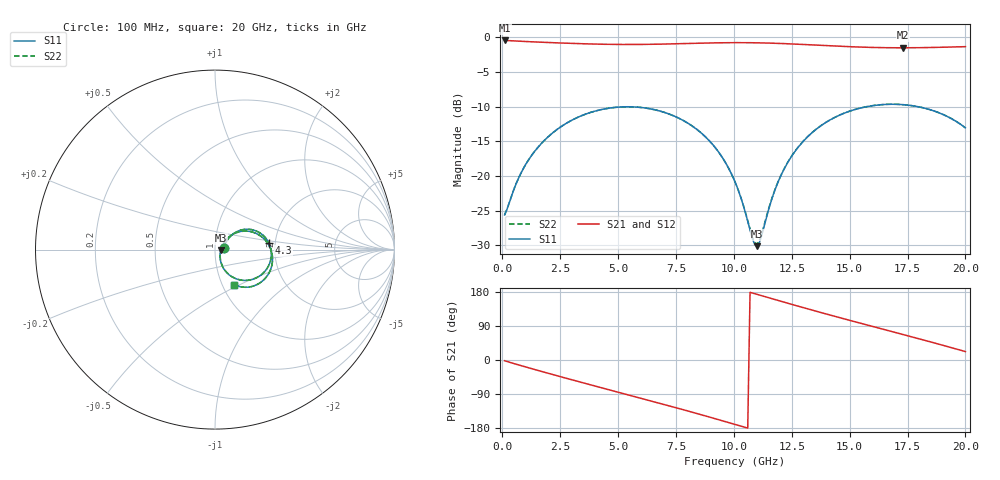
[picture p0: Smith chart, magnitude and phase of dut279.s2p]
! Touchstone file exported from HFSS 2026.1.0
!  File:  C:/ffzhzh/LocalFiles/Ansys_Project_Files/temp_train_TSV_RDL_279_1783085577_33488.aedt
!  Generated:  09:46:16 PM Jul  3, 2026
!  Design:  TSV_RDL
!  Project:  temp_train_TSV_RDL_279_1783085577_33488
! Variables:
!  h_bsmrdl = 2.5um
!  h_ox = 20um
!  h_rdl = 5um
!  h_sub = 84.76um
!  h_tmrdl = 2.14um
!  h_tsv = 84.76um
!  h_via = 3um
!  l_bsmrdl = 732.28um
!  l_sub = 5456.84um
!  l_tmrdl = 692.11um
!  m_sub = 200um
!  pitch = 25.37um
!  r_tsv = 8.3um
!  s_tmrdl = 10um
!  w_bsmrdl = 10.76um
!  w_sub = 500um
!  w_tmrdl = 19.76um
!  x_tsv_center1 = 701.99um
!  x_tsv_center2 = 1445.03um
!  x_tsv_center3 = 2156.9um
!  x_tsv_center4 = 2899.94um
!  x_tsv_center5 = 3611.81um
!  x_tsv_center6 = 4354.85um
# GHz S MA R 50.000000
! Terminal data exported
! Port[1] = TM_RDL1_1_T1
! Port[2] = TM_RDL5_1_T1
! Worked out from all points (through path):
!   200 points, 100 MHz to 20 GHz, reference 50 ohm
!   highest |S21| = -0.46 dB at 100 MHz (marker M1); lowest = -1.5 dB at 17.3 GHz (marker M2)
!   group delay of S21, straight-line fit = 46.9 ps
!   lowest |S11| = -30.1 dB at 11 GHz (marker M3), VSWR 1.06, Z = 53.2 - j0.519 ohm
!   |S11| at or under -10 dB: start of sweep to 15.74 GHz; 17.95 GHz to end of sweep
!   |S22| runs from -29.8 to -9.6 dB; largest |S21 - S12| = 1.6e-14
!   S11 on the Smith chart (normalised r, x): 100 MHz: 1.11, +0.02; 4.3 GHz: 1.85, +0.15; 20 GHz: 1.14, -0.47
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0.1  0.05248 11.7  0.9489 -1.9  0.9489 -1.9  0.05248 11.7
! Gamma 0 0 0 0
! Port Impedance 50 0 50 0
0.7  0.09641 39.3  0.938 -13.0  0.938 -13.0  0.09641 39.3
1.4  0.1509 39.9  0.9258 -25.1  0.9258 -25.1  0.1509 39.9
2.3  0.2127 32.3  0.9128 -40.5  0.9128 -40.5  0.2126 32.3
3.5  0.2756 17.8  0.8982 -60.4  0.8982 -60.4  0.2755 17.8
4.3  0.302 7.1  0.8914 -73.5  0.8914 -73.5  0.3019 7.1
5.6  0.3155 -11.1  0.8876 -94.6  0.8876 -94.6  0.3154 -11.0
6.8  0.2944 -28.3  0.8924 -114.2  0.8924 -114.2  0.2942 -28.2
7.8  0.2524 -42.6  0.9006 -130.9  0.9006 -130.9  0.2522 -42.4
8.8  0.1899 -56.2  0.9092 -148.0  0.9092 -148.0  0.1898 -55.9
9.5  0.1363 -63.9  0.9136 -160.2  0.9136 -160.2  0.1363 -63.5
10.1  0.08664 -66.0  0.9151 -170.8  0.9151 -170.8  0.08677 -65.3
10.8  0.03546 -37.2  0.9137 176.8  0.9137 176.8  0.03628 -36.0
11  0.03124 -9.0  0.9126 173.2  0.9126 173.2  0.03233 -8.6
12.1  0.1064 42.6  0.9015 153.8  0.9015 153.8  0.107 42.0
12.7  0.1552 38.2  0.8927 143.4  0.8927 143.4  0.1557 37.8
13.4  0.2069 29.9  0.881 131.3  0.881 131.3  0.2073 29.6
15  0.2934 7.8  0.8556 104.7  0.8556 104.7  0.2936 7.6
16.7  0.3289 -16.3  0.841 77.1  0.841 77.1  0.3291 -16.4
17.3  0.327 -24.8  0.8401 67.4  0.8401 67.4  0.3271 -24.9
18.6  0.2962 -43.0  0.8449 46.0  0.8449 46.0  0.2963 -43.0
20  0.2226 -61.1  0.8561 22.2  0.8561 22.2  0.2227 -61.0
